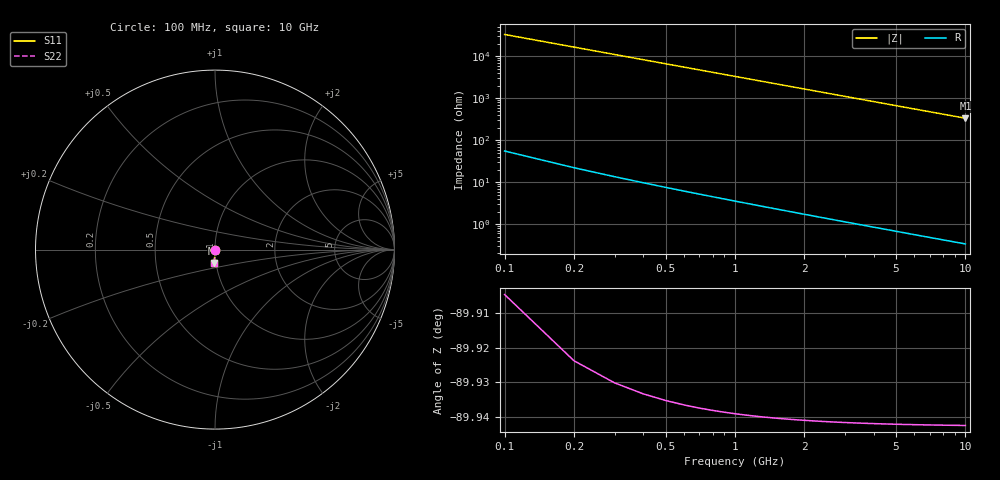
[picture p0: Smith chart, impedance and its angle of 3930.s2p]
# Hz S RI R 50.00
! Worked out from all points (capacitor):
!   100 points, 100 MHz to 10 GHz, reference 50 ohm
!   read as one part in shunt: C = 47.7 fF near 100 MHz
!   lowest |Z| = 336 ohm at 10 GHz (marker M1)
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1e8  -1.38e-06 -0.000749  1 -0.000751  1 -0.000751  -1.38e-06 -0.000749
2e8  -3.81e-06 -0.0015  1 -0.0015  1 -0.0015  -3.81e-06 -0.0015
3e8  -7.37e-06 -0.00225  1 -0.00225  1 -0.00225  -7.37e-06 -0.00225
4e8  -1.2e-05 -0.003  1 -0.003  1 -0.003  -1.2e-05 -0.003
5e8  -1.79e-05 -0.00375  1 -0.00375  1 -0.00375  -1.79e-05 -0.00375
6e8  -2.48e-05 -0.00449  1 -0.0045  1 -0.0045  -2.48e-05 -0.00449
7e8  -3.28e-05 -0.00524  1 -0.00525  1 -0.00525  -3.28e-05 -0.00524
8e8  -4.2e-05 -0.00599  1 -0.006  1 -0.006  -4.2e-05 -0.00599
9e8  -5.23e-05 -0.00674  0.9999 -0.00675  0.9999 -0.00675  -5.23e-05 -0.00674
1.1e9  -7.63e-05 -0.00824  0.9999 -0.00825  0.9999 -0.00825  -7.63e-05 -0.00824
1.4e9  -0.000121 -0.0105  0.9999 -0.0105  0.9999 -0.0105  -0.000121 -0.0105
1.8e9  -0.000195 -0.0135  0.9998 -0.0135  0.9998 -0.0135  -0.000195 -0.0135
2.1e9  -0.000263 -0.0157  0.9997 -0.0157  0.9997 -0.0157  -0.000263 -0.0157
2.5e9  -0.000369 -0.0187  0.9996 -0.0187  0.9996 -0.0187  -0.000369 -0.0187
2.9e9  -0.000493 -0.0217  0.9995 -0.0217  0.9995 -0.0217  -0.000493 -0.0217
3.4e9  -0.000673 -0.0254  0.9993 -0.0255  0.9993 -0.0255  -0.000673 -0.0254
4.2e9  -0.00102 -0.0314  0.999 -0.0314  0.999 -0.0314  -0.00102 -0.0314
5.1e9  -0.00149 -0.038  0.9985 -0.0381  0.9985 -0.0381  -0.00149 -0.038
5.9e9  -0.00198 -0.0439  0.998 -0.044  0.998 -0.044  -0.00198 -0.0439
6.7e9  -0.00254 -0.0498  0.9975 -0.0499  0.9975 -0.0499  -0.00254 -0.0498
8.4e9  -0.00397 -0.0623  0.996 -0.0624  0.996 -0.0624  -0.00397 -0.0623
1e10  -0.00558 -0.0739  0.9944 -0.0741  0.9944 -0.0741  -0.00558 -0.0739
